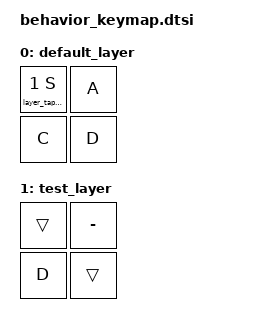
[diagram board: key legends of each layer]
/*
 * Small layout for isolated layer decisions. The hand names in older case
 * paths describe the gesture; the production behaviors now allow either hand.
 */

#include "../hold-taps.dtsi"

/ {
    keymap {
        compatible = "zmk,keymap";

        default_layer {
            bindings = <
                &layer_tap_left 1 S &kp A
                &kp C &kp D>;
        };

        test_layer {
            bindings = <
                &trans &kp MINUS
                &kp D &trans>;
        };
    };
};
